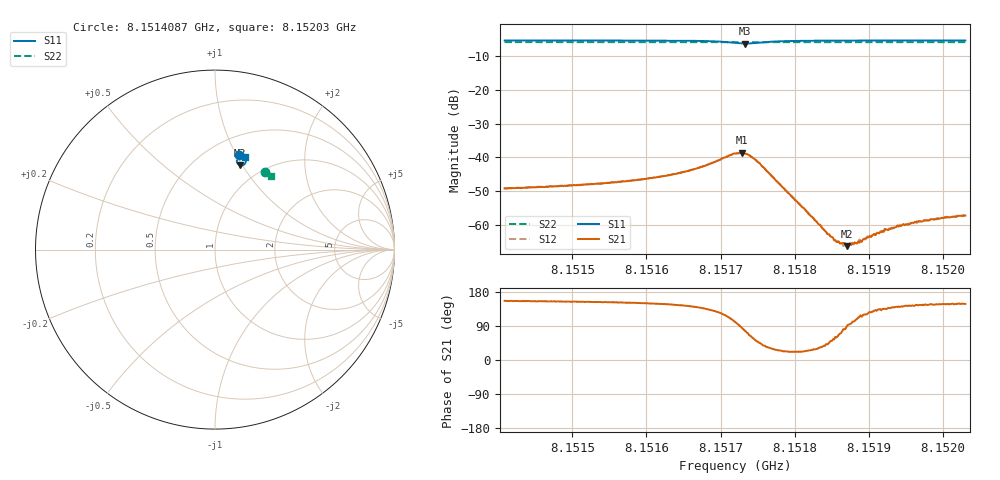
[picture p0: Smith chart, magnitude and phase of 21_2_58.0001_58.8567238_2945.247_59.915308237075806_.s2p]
#  HZ  S  RI  R  50.00
! Rohde & Schwarz Vector Network Analyzer
! Rohde-Schwarz,ZNB20-2Port,1311601062101988,3.16
! Created: UTC 3/21/2024, 12:51:11 AM
! freq[Hz]  re:S11  im:S11  re:S21  im:S21  re:S12  im:S12  re:S22  im:S22
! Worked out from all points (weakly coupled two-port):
!   401 points, 8.1514087 GHz to 8.15203 GHz, reference 50 ohm
!   highest |S21| = -38.68 dB at 8.1517287 GHz (marker M1); lowest = -66.4 dB at 8.15187 GHz (marker M2)
!   lowest |S11| = -6.2 dB at 8.1517333 GHz (marker M3), VSWR 2.92, Z = 39.5 + j48.9 ohm
!   |S11| at or under -10 dB: nowhere
!   |S22| runs from -5.8 to -5.8 dB; largest |S21 - S12| = 0.00028
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8.15140874e9  0.1363 0.5267  -0.00315 0.00138  -0.00315 0.00149  0.2773 0.4328
8.1515128e9  0.1456 0.5239  -0.00349 0.00173  -0.00349 0.0018  0.2829 0.4292
8.15157492e9  0.1522 0.5215  -0.00387 0.00213  -0.00389 0.00222  0.2861 0.4267
8.15161685e9  0.1578 0.5186  -0.00432 0.00268  -0.00435 0.00277  0.2887 0.4249
8.1516681e9  0.1671 0.5101  -0.0052 0.00444  -0.00515 0.00456  0.2914 0.4227
8.15171935e9  0.1625 0.4743  -0.00218 0.0112  -0.002 0.0111  0.2933 0.4196
8.15172867e9  0.1483 0.469  0.0011 0.0116  0.0011 0.0115  0.293 0.4194
8.15173333e9  0.14 0.47  0.00268 0.0109  0.00285 0.0111  0.293 0.4194
8.15174109e9  0.1285 0.4768  0.00475 0.00899  0.00494 0.00906  0.293 0.4196
8.15175041e9  0.1221 0.4894  0.00564 0.00626  0.00587 0.0062  0.2936 0.4197
8.1518234e9  0.1431 0.5198  0.00116 0.000569  0.00115 0.000549  0.2985 0.4179
8.15185291e9  0.149 0.5205  0.00035 0.000476  0.000331 0.000476  0.3002 0.4168
8.15185912e9  0.15 0.5204  0.000226 0.000515  0.000254 0.000486  0.3005 0.4165
8.15186533e9  0.1509 0.5204  7.96e-05 0.000526  0.000128 0.00046  0.3008 0.4162
8.15186999e9  0.1515 0.5204  7.26e-06 0.00048  3.83e-05 0.000497  0.3011 0.416
8.1518731e9  0.1521 0.5204  -3.25e-05 0.000497  -1.03e-05 0.000525  0.3012 0.4158
8.15188708e9  0.154 0.5203  -0.000212 0.000495  -0.000239 0.000548  0.3019 0.4153
8.15190416e9  0.156 0.52  -0.00042 0.000548  -0.000419 0.000548  0.3028 0.4147
8.15192745e9  0.1587 0.5196  -0.000625 0.000584  -0.000644 0.000601  0.3039 0.4137
8.15196473e9  0.1626 0.519  -0.00092 0.000633  -0.000857 0.00062  0.306 0.4123
8.15199423e9  0.1652 0.5184  -0.00102 0.000652  -0.00104 0.000685  0.3075 0.411
8.15202995e9  0.1684 0.5176  -0.00116 0.000724  -0.00118 0.000726  0.3093 0.4097
